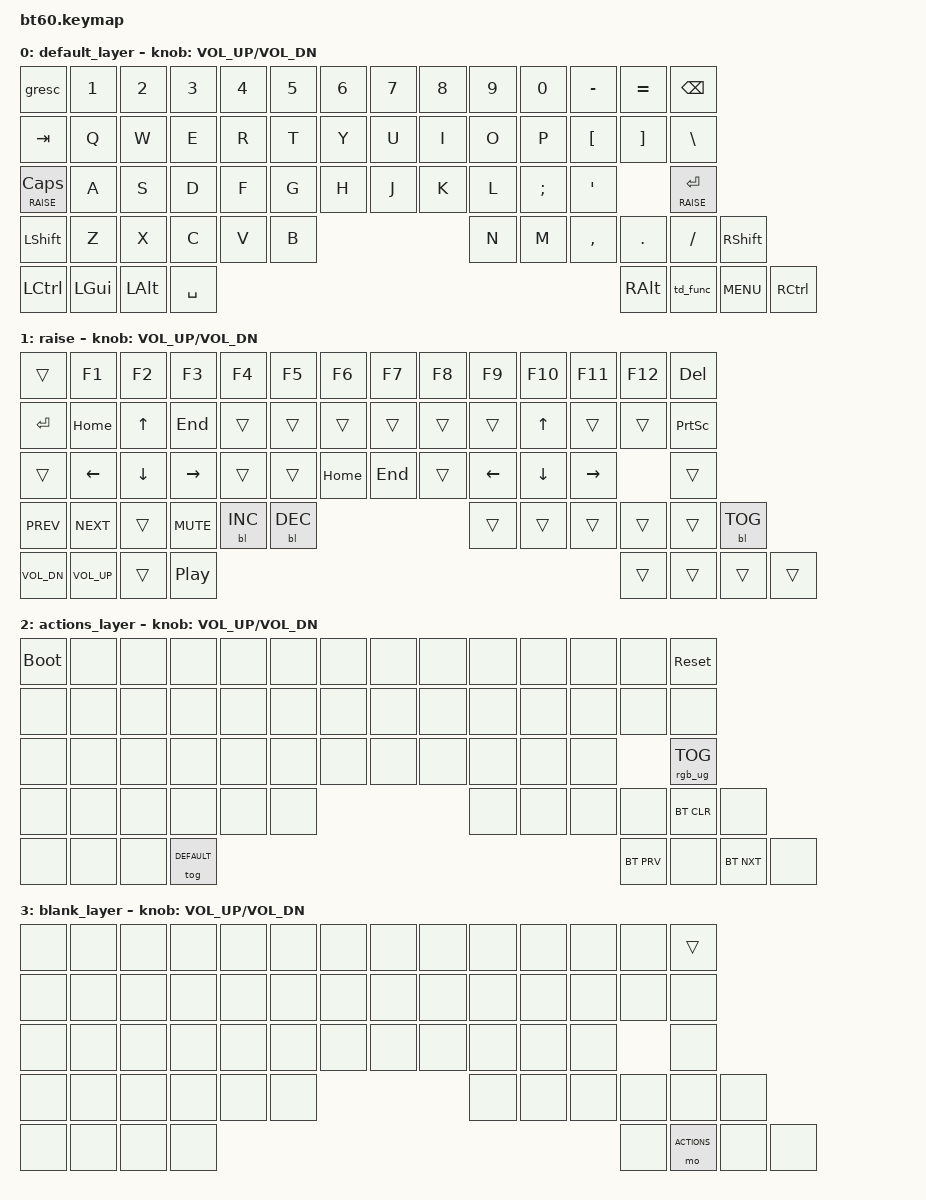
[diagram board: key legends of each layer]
#include <behaviors.dtsi>
#include <dt-bindings/zmk/keys.h>
#include <dt-bindings/zmk/bt.h>
#include <dt-bindings/zmk/rgb.h>
#include <dt-bindings/zmk/backlight.h>

#define DEFAULT 0
#define RAISE 1
#define ACTIONS 2
#define BLANK 3

/ {
	behaviors {
        td_func: tap_dance_func {
            compatible = "zmk,behavior-tap-dance";
            label = "TAP_DANCE_FUNC";
            #binding-cells = <0>;
            tapping-term-ms = <200>;
            bindings = <&mo RAISE>, <&mo RAISE>, <&mo ACTIONS>, <&tog BLANK>;
        };

		td_blank: tap_dance_blank {
            compatible = "zmk,behavior-tap-dance";
            label = "TAP_DANCE_BLANK";
            #binding-cells = <0>;
            tapping-term-ms = <200>;                 
            bindings = <&none>, <&mo ACTIONS>;
        };
	};

	keymap {
		compatible = "zmk,keymap";

		default_layer {
				// ------------------------------------------------------------------------------------------
				// |  `  |  1  |  2  |  3  |  4  |  5  |  6  |  7  |  8  |  9  |  0  |  -  |  =  |   BKSP
				// | TAB  |  Q  |  W  |  E  |  R  |  T  |  Y  |  U  |  I  |  O  |  P  |  [  |  ]  |   |
				// | CAPS  |  A  |  S  |  D  |  F  |  G  |  H  |  J  |  K  |  L  |  ;  |  '  |     ENTER
				// |  SHIFT    |  Z  |  X  |  C  |  V  |  B  |  N  |  M  |  ,  |  .  | /   |      SHIFT
				// |  CTL  |  WIN  |  ALT  |            SPACE               | ALT | 1    |  MENU    |  CTRL
				// ------------------------------------------------------------------------------------------
			bindings = <

				&gresc &kp N1 &kp N2 &kp N3 &kp N4 &kp N5 &kp N6 &kp N7 &kp  N8   &kp  N9 &kp  N0  &kp MINUS &kp EQUAL &kp BSPC
				&kp TAB  &kp Q  &kp W  &kp E  &kp R  &kp T  &kp Y  &kp U  &kp  I    &kp  O  &kp  P   &kp LBKT &kp RBKT   &kp BSLH
				&lt RAISE CAPS  &kp A  &kp S  &kp D  &kp F  &kp G  &kp H  &kp J  &kp  K    &kp  L  &kp SEMI &kp SQT  &lt RAISE ENTER
				&kp LSHFT  &kp Z  &kp X  &kp C  &kp V  &kp B  &kp N  &kp M  &kp COMMA &kp DOT &kp FSLH                   &kp RSHFT
				&kp LCTRL &kp LGUI &kp LALT            &kp SPACE                          &kp RALT  &td_func &kp C_MENU  &kp RCTRL
			>;
			sensor-bindings = <&inc_dec_kp C_VOL_UP C_VOL_DN>;
		};

		raise {
			bindings = <
				&trans 	&kp F1 &kp F2 &kp F3 &kp F4 &kp F5 &kp F6 &kp F7 &kp F8 &kp F9 &kp F10 &kp F11 &kp F12 &kp DEL
				&kp ENTER 	&kp HOME &kp UP &kp END &trans &trans &trans &trans &trans &trans &kp UP &trans &trans &kp PSCRN
				&trans 	&kp LEFT &kp DOWN &kp RIGHT &trans &trans &kp HOME &kp END &trans &kp LEFT &kp DOWN &kp RIGHT   &trans
				&kp C_PREV 	&kp C_NEXT &trans &kp C_MUTE &bl BL_INC &bl BL_DEC &trans &trans &trans &trans &trans  &bl BL_TOG
				&kp C_VOL_DN 	&kp C_VOL_UP  &trans            &kp C_PLAY_PAUSE          &trans &trans &trans &trans
			>;
			sensor-bindings = <&inc_dec_kp C_VOL_UP C_VOL_DN>;
		};

		actions_layer {
			bindings = <
				&bootloader &none  	&none  &none  &none  &none &none  &none &none &none &none &none &none &sys_reset
				&none  	&none  		&none  &none  &none  &none &none  &none &none &none &none &none &none &none
				&none  	&none  		&none  &none  &none  &none &none  &none &none &none &none &none 	  &rgb_ug RGB_TOG
				&none  	&none  		&none  &none  &none  &none &none  &none &none &none &bt BT_CLR 			  &none
				&none  	&none  		&none            		   &tog DEFAULT                   &bt BT_PRV &none &bt BT_NXT &none
			>;
			sensor-bindings = <&inc_dec_kp C_VOL_UP C_VOL_DN>;
		};

		blank_layer {
			bindings = <
				&none 	&none  &none  &none  &none  &none &none  &none &none &none &none &none &none 	&trans
				&none  	&none  &none  &none  &none  &none &none  &none &none &none &none &none &none 	&none
				&none  	&none  &none  &none  &none  &none &none  &none &none &none &none &none 	     	&none
				&none  	&none  &none  &none  &none  &none &none  &none &none &none &none 				&none
				&none  	&none  &none            	&none             	  	 &none &mo ACTIONS &none &none
			>;
			sensor-bindings = <&inc_dec_kp C_VOL_UP C_VOL_DN>;
		};
	};
};
